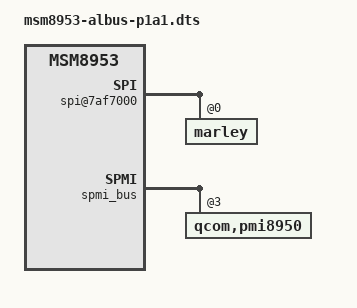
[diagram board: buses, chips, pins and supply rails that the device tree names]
/* Copyright (c) 2016, Motorola Mobility Inc. All rights reserved.
 *
 * This program is free software; you can redistribute it and/or modify
 * it under the terms of the GNU General Public License version 2 and
 * only version 2 as published by the Free Software Foundation.
 *
 * This program is distributed in the hope that it will be useful,
 * but WITHOUT ANY WARRANTY; without even the implied warranty of
 * MERCHANTABILITY or FITNESS FOR A PARTICULAR PURPOSE.  See the
 * GNU General Public License for more details.
 */

/dts-v1/;


#include "msm8953-albus.dtsi"


/ {
	qcom,board-id = <0x48 0x81A1>;
};

&soc {
	sound {
		qcom,model = "msm8952-marley-cardp1a";
		qcom,l35_cpu_dai_name = "marley-aif2";
	};

	spi@7af7000 {
		marley@0 {
			wlf,micd-configs = <0 3 0
					    0x2000 2 1>;
		};
	};
};

&spmi_bus {
	qcom,pmi8950@3 {
		qcom,leds@d300 {
			/delete-property/ qcom,self-check-enabled;
		};
	};
};
